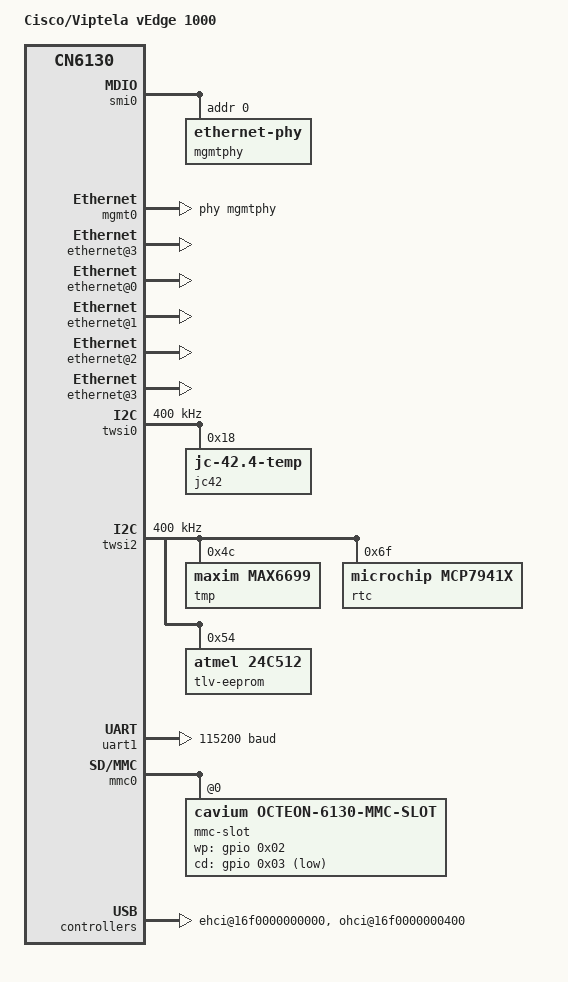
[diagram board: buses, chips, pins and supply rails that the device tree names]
// SPDX-License-Identifier: GPL-2.0-or-later OR MIT

/include/ "octeon_3xxx.dtsi"
#include <dt-bindings/gpio/gpio.h>

/ {
	compatible = "cisco,vedge1000", "cavium,cn6130";
	model = "Cisco/Viptela vEdge 1000";
	#address-cells = <2>;
	#size-cells = <2>;
	interrupt-parent = <&ciu>;

	soc@0 {
		smi0: mdio@1180000001800 {
			mgmtphy: ethernet-phy@0 {
				reg = <0x00>;
			};
		};

		mgmt0: ethernet@1070000100000 {
			compatible = "cavium,octeon-5750-mix";
			reg = <0x10700 0x100000 0x00 0x100>,
			      <0x11800 0xe0000000 0x00 0x300>,
			      <0x11800 0xe0000400 0x00 0x400>,
			      <0x11800 0xe0002000 0x00 0x08>;
			cell-index = <0x00>;
			interrupts = <0x00 0x3e 0x01 0x2e>;
			nvmem-cells = <&macaddr_eeprom 0>;
			nvmem-cell-names = "mac-address";
			phy-handle = <&mgmtphy>;
		};

		pip: pip@11800a0000000 {
			interface@0 {
				ethernet@0 {
					nvmem-cells = <&macaddr_eeprom 3>;
					nvmem-cell-names = "mac-address";
					label = "lan2";
					/delete-property/ local-mac-address;
				};

				ethernet@1 {
					nvmem-cells = <&macaddr_eeprom 4>;
					nvmem-cell-names = "mac-address";
					label = "lan3";
					/delete-property/ local-mac-address;
				};

				ethernet@2 {
					nvmem-cells = <&macaddr_eeprom 1>;
					nvmem-cell-names = "mac-address";
					label = "lan0";
					/delete-property/ local-mac-address;
				};

				ethernet@3 {
					compatible = "cavium,octeon-3860-pip-port";
					reg = <0x3>;
					nvmem-cells = <&macaddr_eeprom 2>;
					nvmem-cell-names = "mac-address";
					label = "lan1";
				};
			};

			interface@1 {
				ethernet@0 {
					compatible = "cavium,octeon-3860-pip-port";
					reg = <0x0>;
					nvmem-cells = <&macaddr_eeprom 7>;
					nvmem-cell-names = "mac-address";
					label = "lan6";
				};

				ethernet@1 {
					compatible = "cavium,octeon-3860-pip-port";
					reg = <0x1>;
					nvmem-cells = <&macaddr_eeprom 8>;
					nvmem-cell-names = "mac-address";
					label = "lan7";
				};

				ethernet@2 {
					compatible = "cavium,octeon-3860-pip-port";
					reg = <0x2>;
					nvmem-cells = <&macaddr_eeprom 5>;
					nvmem-cell-names = "mac-address";
					label = "lan4";
				};

				ethernet@3 {
					compatible = "cavium,octeon-3860-pip-port";
					reg = <0x3>;
					nvmem-cells = <&macaddr_eeprom 6>;
					nvmem-cell-names = "mac-address";
					label = "lan5";
				};
			};
		};

		twsi0: i2c@1180000001000 {
			clock-frequency = <400000>;

			jc42@18 {
				compatible = "jedec,jc-42.4-temp";
				reg = <0x18>;
			};
		};

		twsi2: i2c@1180000001200 {
			#address-cells = <1>;
			#size-cells = <0>;
			compatible = "cavium,octeon-3860-twsi";
			reg = <0x11800 0x1200 0x00 0x200>;
			interrupts = <0x00 0x3b>;
			clock-frequency = <400000>;

			tmp@4c {
				compatible = "maxim,max6699";
				reg = <0x4c>;
			};

			rtc@6f {
				compatible = "microchip,mcp7941x";
				reg = <0x6f>;
			};

			tlv-eeprom@54 {
				compatible = "atmel,24c512";
				reg = <0x54>;
				pagesize = <0x80>;

				nvmem-layout {
					compatible = "fixed-layout";
					#address-cells = <1>;
					#size-cells = <1>;

					macaddr_eeprom: mac-address@8 {
						compatible = "mac-base";
						reg = <0x8 6>;
						#nvmem-cell-cells = <1>;
					};
				};
			};
		};

		uart0: serial@1180000000800 {
			clock-frequency = <600000000>;
			current-speed = <115200>;
		};

		uart1: serial@1180000000c00 {
			compatible = "cavium,octeon-3860-uart", "ns16550";
			reg = <0x11800 0xc00 0x00 0x400>;
			reg-shift = <0x03>;
			interrupts = <0x00 0x23>;
			clock-frequency = <600000000>;
			current-speed = <115200>;
		};

		mmc0: mmc@1180000002000 {
			compatible = "cavium,octeon-6130-mmc";
			reg = <0x11800 0x2000 0x00 0x100 0x11800 0x168 0x00 0x20>;
			#address-cells = <1>;
			#size-cells = <0>;
			interrupts = <0x01 0x13 0x00 0x3f>;

			mmc-slot@0 {
				compatible = "cavium,octeon-6130-mmc-slot";
				reg = <0x00>;
				voltage-ranges = <0xce4 0xce4>;
				max-frequency = <0x3197500>;
				wp-gpios = <&gpio 0x02 GPIO_ACTIVE_HIGH>;
				cd-gpios = <&gpio 0x03 GPIO_ACTIVE_LOW>;
				cavium,bus-max-width = <0x04>;
			};
		};

		bootbus: bootbus@1180000000000 {
			compatible = "cavium,octeon-3860-bootbus";
			reg = <0x11800 0x00 0x00 0x200>;
			#address-cells = <2>;
			#size-cells = <1>;
			ranges = <0 0 0x00 0x1ec00000 0x1400000>,
				 <1 0 0x10000 0x20000000 0x00>,
				 <2 0 0x10000 0x30000000 0x00>,
				 <3 0 0x10000 0x40000000 0x00>,
				 <4 0 0x10000 0x50000000 0x00>,
				 <5 0 0x10000 0x60000000 0x00>,
				 <6 0 0x00 0x1e000000 0x10000>,
				 <7 0 0x10000 0x80000000 0x00>;

			cavium,cs-config@0 {
				compatible = "cavium,octeon-3860-bootbus-config";
				cavium,cs-index = <0x00>;
				cavium,t-adr = <0x0a>;
				cavium,t-ce = <0x32>;
				cavium,t-oe = <0x32>;
				cavium,t-we = <0x23>;
				cavium,t-rd-hld = <0x19>;
				cavium,t-wr-hld = <0x23>;
				cavium,t-pause = <0x00>;
				cavium,t-wait = <0x12c>;
				cavium,t-page = <0x19>;
				cavium,t-rd-dly = <0x00>;
				cavium,t-ale = <0x03>;
				cavium,pages = <0x00>;
				cavium,bus-width = <0x10>;
			};

			/delete-node/ cavium,cs-config@1;
			/delete-node/ cavium,cs-config@2;
			/delete-node/ cavium,cs-config@3;
			/delete-node/ cavium,cs-config@4;
			/delete-node/ cavium,cs-config@5;

			cavium,cs-config@6 {
				compatible = "cavium,octeon-3860-bootbus-config";
				cavium,cs-index = <0x06>;
				cavium,t-adr = <0x0a>;
				cavium,t-ce = <0x0a>;
				cavium,t-oe = <0xa0>;
				cavium,t-we = <0x64>;
				cavium,t-rd-hld = <0x00>;
				cavium,t-wr-hld = <0x00>;
				cavium,t-pause = <0x32>;
				cavium,t-wait = <0x12c>;
				cavium,t-page = <0x12c>;
				cavium,t-rd-dly = <0x0a>;
				cavium,t-ale = <0x3f>;
				cavium,pages = <0x00>;
				cavium,bus-width = <0x08>;
				/delete-property/ cavium,wait-mode;
			};

			flash0: nor@0,0 {
				compatible = "cfi-flash";
				reg = <0x00 0x00 0x1000000>;
				bank-width = <2>;
				device-width = <1>;

				#address-cells = <1>;
				#size-cells = <1>;

				partition@0 {
					label = "bootloader";
					reg = <0x00 0x200000>;
					read-only;
				};

				partition@fe0000 {
					label = "environment";
					reg = <0xfe0000 0x20000>;
				};
			};

			cpld: cpld@6,0 {
				compatible = "cisco,n821-cpld", "syscon", "simple-mfd";
				#address-cells = <1>;
				#size-cells = <1>;
				reg-io-width = <1>; // Syscon uses 4-byte accesses by default

				reg = <0x06 0x00 0x28>;     // This is the regmap to be defined for syscon devices..
				ranges = <0 0x06 0x0 0x50>; // .. and this is the addresses to map general subdevices on
			};
		};

		uctl@118006f000000 {
			compatible = "cavium,octeon-6335-uctl";
			reg = <0x11800 0x6f000000 0x00 0x100>;
			ranges;
			#address-cells = <2>;
			#size-cells = <2>;
			refclk-frequency = <0xb71b00>;
			refclk-type = "crystal";

			ehci@16f0000000000 {
				compatible = "cavium,octeon-6335-ehci", "usb-ehci";
				reg = <0x16f00 0x00 0x00 0x100>;
				interrupts = <0x00 0x38>;
				big-endian-regs;
			};

			ohci@16f0000000400 {
				compatible = "cavium,octeon-6335-ohci", "usb-ohci";
				reg = <0x16f00 0x400 0x00 0x100>;
				interrupts = <0x00 0x38>;
				big-endian-regs;
			};
		};
	};
};

